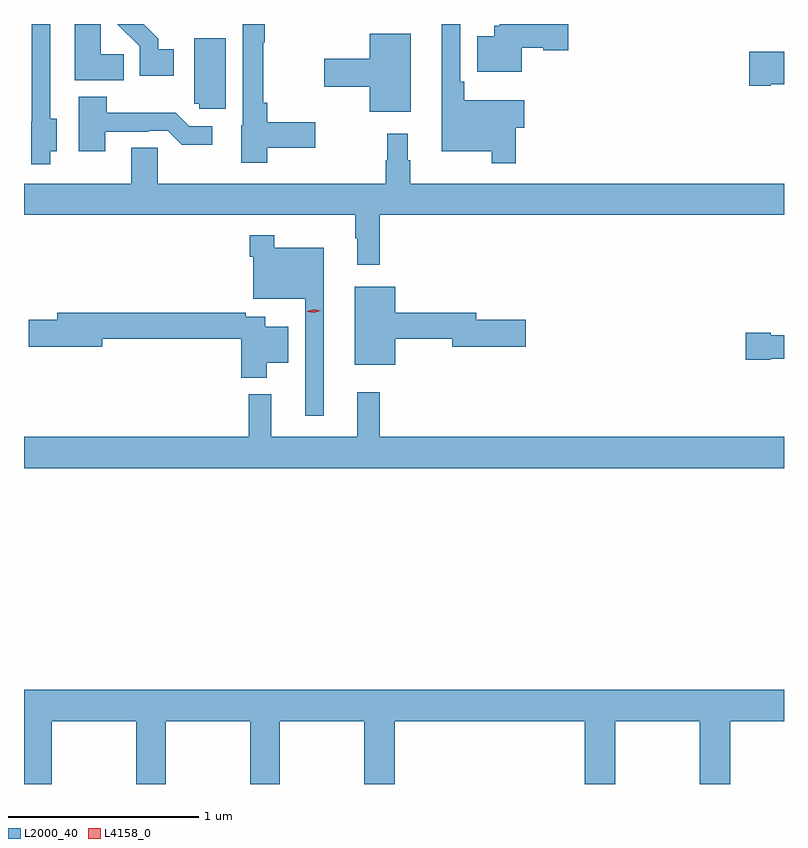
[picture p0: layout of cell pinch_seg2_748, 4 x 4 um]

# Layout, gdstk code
import gdstk
lib = gdstk.Library(unit=1e-6, precision=1e-09)
def P(c, l, *ps):  # polygons
    for p in ps: c.add(gdstk.Polygon(p, *l))
L2000_40 = (2000, 40)
L4158_0 = (4158, 0)

pinch_seg2_748 = lib.new_cell('pinch_seg2_748')
P(pinch_seg2_748, L2000_40, [(677.39,642.766),(677.434,642.766),(677.434,642.913),(677.117,642.913),(677.117,643.009),(677.097,643.009),(677.097,643.313),(677,643.313),(677,642.644),(677.262,642.644),(677.262,642.579),(677.39,642.579)],
  [(677.422,643.187),(677.535,643.187),(677.535,643.175),(677.665,643.175),(677.665,643.313),(677.304,643.313),(677.304,643.305),(677.276,643.305),(677.276,643.249),(677.186,643.249),(677.186,643.061),(677.422,643.061)],
  [(675.589,643.18),(675.508,643.18),(675.508,643.235),(675.43,643.313),(675.293,643.313),(675.411,643.195),(675.411,643.04),(675.589,643.04)],
  [(674.938,642.644),(674.974,642.644),(674.974,642.815),(674.938,642.815),(674.938,643.313),(674.841,643.313),(674.841,642.798),(674.84,642.798),(674.84,642.576),(674.938,642.576)],
  [(676.08,642.662),(676.333,642.662),(676.333,642.797),(676.08,642.797),(676.08,642.898),(676.06,642.898),(676.06,643.216),(676.067,643.216),(676.067,643.313),(675.951,643.313),(675.951,642.78),(675.944,642.78),(675.944,642.584),(676.08,642.584)],
  [(675.326,643.154),(675.205,643.154),(675.205,643.313),(675.068,643.313),(675.068,643.016),(675.326,643.016)],
  [(676.837,643.261),(676.622,643.261),(676.622,643.13),(676.38,643.13),(676.38,642.983),(676.622,642.983),(676.622,642.851),(676.837,642.851)],
  [(675.862,643.238),(675.698,643.238),(675.698,642.894),(675.723,642.894),(675.723,642.867),(675.862,642.867)],
  [(678.73,642.995),(678.801,642.995),(678.801,643.167),(678.618,643.167),(678.618,642.989),(678.73,642.989)],
  [(675.229,642.747),(675.458,642.747),(675.458,642.75),(675.558,642.75),(675.631,642.677),(675.793,642.677),(675.793,642.774),(675.672,642.774),(675.599,642.847),(675.237,642.847),(675.237,642.931),(675.089,642.931),(675.089,642.642),(675.229,642.642)],
  [(675.504,642.662),(675.365,642.662),(675.365,642.472),(674.801,642.472),(674.801,642.308),(676.545,642.308),(676.545,642.185),(676.556,642.185),(676.556,642.045),(676.673,642.045),(676.673,642.308),(678.801,642.308),(678.801,642.472),(676.834,642.472),(676.834,642.596),(676.822,642.596),(676.822,642.736),(676.713,642.736),(676.713,642.596),(676.705,642.596),(676.705,642.472),(675.504,642.472)],
  [(676.378,642.136),(676.117,642.136),(676.117,642.202),(675.988,642.202),(675.988,642.089),(676.008,642.089),(676.008,641.867),(676.281,641.867),(676.281,641.25),(676.378,641.25)],
  [(676.756,641.656),(677.054,641.656),(677.054,641.614),(677.443,641.614),(677.443,641.756),(677.182,641.756),(677.182,641.792),(676.756,641.792),(676.756,641.929),(676.541,641.929),(676.541,641.519),(676.756,641.519)],
  [(676.078,641.531),(676.192,641.531),(676.192,641.719),(676.072,641.719),(676.072,641.772),(675.968,641.772),(675.968,641.792),(674.975,641.792),(674.975,641.756),(674.826,641.756),(674.826,641.614),(675.214,641.614),(675.214,641.656),(675.944,641.656),(675.944,641.45),(676.078,641.45)],
  [(678.732,641.552),(678.801,641.552),(678.801,641.674),(678.732,641.674),(678.732,641.687),(678.6,641.687),(678.6,641.545),(678.732,641.545)],
  [(678.801,641.14),(676.673,641.14),(676.673,641.374),(676.556,641.374),(676.556,641.14),(676.103,641.14),(676.103,641.365),(675.985,641.365),(675.985,641.14),(674.801,641.14),(674.801,640.976),(678.801,640.976)],
  [(674.946,639.644),(675.391,639.644),(675.391,639.313),(675.546,639.313),(675.546,639.644),(675.991,639.644),(675.991,639.313),(676.146,639.313),(676.146,639.644),(676.591,639.644),(676.591,639.313),(676.751,639.313),(676.751,639.644),(677.753,639.644),(677.753,639.313),(677.913,639.313),(677.913,639.644),(678.358,639.644),(678.358,639.313),(678.518,639.313),(678.518,639.644),(678.801,639.644),(678.801,639.808),(674.801,639.808),(674.801,639.313),(674.946,639.313)])
P(pinch_seg2_748, L4158_0, [(676.328,641.792),(676.292,641.799),(676.292,641.8),(676.292,641.8),(676.327,641.812),(676.363,641.804),(676.363,641.804),(676.363,641.804)])

lib.write_gds('pinch_seg2_748.gds')
